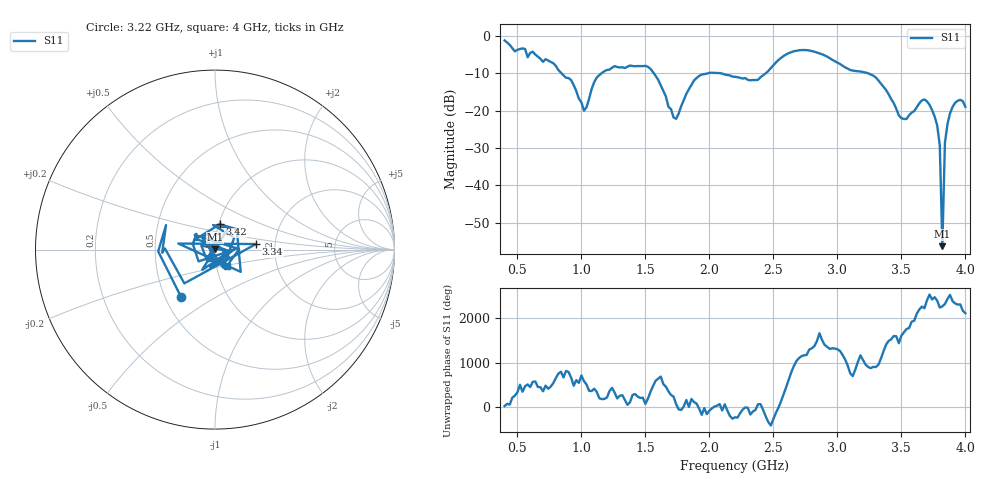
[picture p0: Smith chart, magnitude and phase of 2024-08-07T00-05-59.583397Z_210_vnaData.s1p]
!Created with skrf (http://scikit-rf.org).
# Hz S RI R 50.0
!freq ReS11 ImS11
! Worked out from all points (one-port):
!   181 points, 400 MHz to 4 GHz, reference 50 ohm
!   lowest |S11| = -56.3 dB at 3.82 GHz (marker M1), VSWR 1.00, Z = 50 + j0.151 ohm
!   |S11| at or under -10 dB: 1.566 GHz to 1.987 GHz (421 MHz wide, 23.7 % of centre); 2.09 GHz to 2.44 GHz (349.6 MHz wide, 15.4 % of centre); 3.241 GHz to end of sweep (the widest 3 of 4)
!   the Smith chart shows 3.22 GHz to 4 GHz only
!   S11 on the Smith chart (normalised r, x): 3.22 GHz: 0.60, -0.35; 3.34 GHz: 1.59, +0.10; 3.42 GHz: 1.01, +0.29; 4 GHz: 1.12, -0.21
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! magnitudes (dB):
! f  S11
! 400 MHz  -1.2
! 860 MHz  -10.5
! 920 MHz  -11.8
! 1.02 GHz  -20.0
! 1.12 GHz  -11.1
! 1.3 GHz  -8.4
! 1.52 GHz  -8.3
! 1.6 GHz  -11.8
! 1.72 GHz  -21.8
! 1.76 GHz  -20.8
! 1.92 GHz  -10.7
! 2.2 GHz  -10.9
! 2.38 GHz  -11.7
! 2.66 GHz  -4.1
! 3.1 GHz  -9.1
! 3.22 GHz  -9.8
! 3.34 GHz  -12.8
! 3.42 GHz  -16.9
! 3.5 GHz  -22.0
! 3.56 GHz  -21.2
! 3.68 GHz  -17.0
! 3.78 GHz  -24.0
! 3.8 GHz  -29.3
! 3.82 GHz  -56.3
! 3.84 GHz  -28.6
! 3.86 GHz  -23.6
! 3.92 GHz  -17.9
! 4 GHz  -19.0
